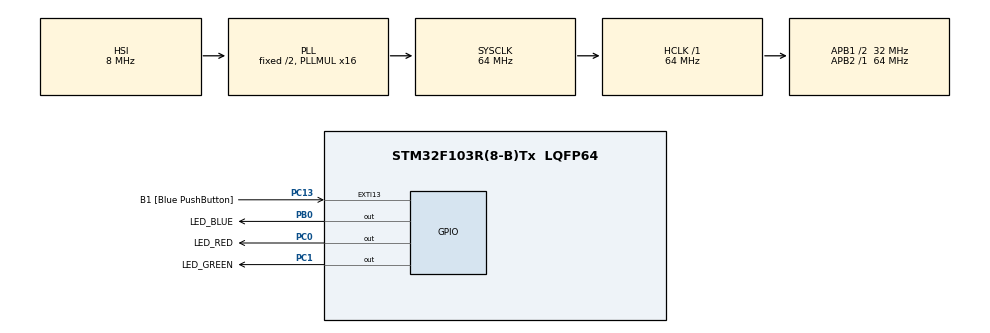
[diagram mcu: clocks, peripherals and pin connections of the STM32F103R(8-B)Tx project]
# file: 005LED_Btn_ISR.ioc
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Mcu.Family=STM32F1
Mcu.Name=STM32F103R(8-B)Tx
Mcu.Package=LQFP64
NVIC.EXTI15_10_IRQn=true\:6\:0\:true\:false\:true\:true\:true\:true
NVIC.PriorityGroup=NVIC_PRIORITYGROUP_4
NVIC.TIM4_IRQn=true\:15\:0\:false\:false\:true\:false\:true\:true
NVIC.TimeBase=TIM4_IRQn
NVIC.TimeBaseIP=TIM4
PA13.GPIO_Label=TMS
PA13.Mode=Serial_Wire
PA13.Signal=SYS_JTMS-SWDIO
PA14.GPIO_Label=TCK
PA14.Mode=Serial_Wire
PA14.Signal=SYS_JTCK-SWCLK
PA2.GPIO_Label=USART_TX
PA2.GPIO_Mode=GPIO_MODE_AF_PP
PA2.GPIO_PuPd=GPIO_NOPULL
PA2.GPIO_Speed=GPIO_SPEED_FREQ_LOW
PA2.Signal=USART2_TX
PA3.GPIO_Label=USART_RX
PA3.GPIO_Mode=GPIO_MODE_AF_PP
PA3.GPIO_PuPd=GPIO_NOPULL
PA3.GPIO_Speed=GPIO_SPEED_FREQ_LOW
PA3.Signal=USART2_RX
PB0.GPIO_Label=LED_BLUE
PB0.Signal=GPIO_Output
PB3.GPIO_Label=SWO
PB3.Signal=SYS_JTDO-TRACESWO
PC0.GPIO_Label=LED_RED
PC0.Signal=GPIO_Output
PC1.GPIO_Label=LED_GREEN
PC1.Signal=GPIO_Output
PC13-TAMPER-RTC.GPIO_Label=B1 [Blue PushButton]
PC13-TAMPER-RTC.GPIO_ModeDefaultEXTI=GPIO_MODE_IT_FALLING
PC13-TAMPER-RTC.GPIO_PuPd=GPIO_NOPULL
PC13-TAMPER-RTC.Signal=GPXTI13
PC14-OSC32_IN.Signal=RCC_OSC32_IN
PC15-OSC32_OUT.Signal=RCC_OSC32_OUT
PD0-OSC_IN.Signal=RCC_OSC_IN
PD1-OSC_OUT.Signal=RCC_OSC_OUT
ProjectManager.HeapSize=0x200
ProjectManager.StackSize=0x400
ProjectManager.TargetToolchain=STM32CubeIDE
RCC.AHBFreq_Value=64000000
RCC.APB1CLKDivider=RCC_HCLK_DIV2
RCC.APB1Freq_Value=32000000
RCC.APB1TimFreq_Value=64000000
RCC.APB2Freq_Value=64000000
RCC.APB2TimFreq_Value=64000000
RCC.HCLKFreq_Value=64000000
RCC.PLLMUL=RCC_PLL_MUL16
RCC.SYSCLKFreq_VALUE=64000000
RCC.SYSCLKSource=RCC_SYSCLKSOURCE_PLLCLK
RCC.USBFreq_Value=64000000
VP_SYS_VS_tim4.Mode=TIM4
board=NUCLEO-F103RB

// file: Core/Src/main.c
/* USER CODE BEGIN Header */
/**
  ******************************************************************************
  * @file           : main.c
  * @brief          : Main program body
  ******************************************************************************
  * @attention
  *
  * Copyright (c) 2025 STMicroelectronics.
  * All rights reserved.
  *
  * This software is licensed under terms that can be found in the LICENSE file
  * in the root directory of this software component.
  * If no LICENSE file comes with this software, it is provided AS-IS.
  *
  ******************************************************************************
  */
/* USER CODE END Header */
#include "main.h"

/* USER CODE BEGIN Includes */
#include "FreeRTOS.h"
#include "task.h"
/* USER CODE END Includes */

void SystemClock_Config(void);
static void MX_GPIO_Init(void);
/* USER CODE BEGIN PFP */
void button_interrupt_handler(void);
static void led_red_handler(void* parameters);
static void led_green_handler(void* parameters);
static void led_blue_handler(void* parameters);
static void button_handler(void* parameters);
/* USER CODE END PFP */

/* USER CODE BEGIN 0 */
#define DWT_CTRL	(*(volatile uint32_t*) 0xE0001000)

TaskHandle_t task1_handle;
TaskHandle_t task2_handle;
TaskHandle_t task3_handle;
TaskHandle_t btn_task_handle;
TaskHandle_t volatile next_task_handle;

/* USER CODE END 0 */

int main(void)
{

  /* USER CODE BEGIN 1 */
  BaseType_t status;
  /* USER CODE END 1 */

  /* MCU Configuration--------------------------------------------------------*/

  /* Reset of all peripherals, Initializes the Flash interface and the Systick. */
  HAL_Init();

  /* Configure the system clock */
  SystemClock_Config();

  /* Initialize all configured peripherals */
  MX_GPIO_Init();
  /* USER CODE BEGIN 2 */
  DWT_CTRL |= (1 << 0);

  SEGGER_SYSVIEW_Conf();

  SEGGER_SYSVIEW_Start();

  HAL_NVIC_SetPriorityGrouping(NVIC_PRIORITYGROUP_4);
  HAL_NVIC_SetPriority(PendSV_IRQn,  15, 0);
  HAL_NVIC_SetPriority(SysTick_IRQn, 15, 0);

  status = xTaskCreate(led_red_handler, "LED_RED_task", 200, NULL, 1, &task1_handle);

  configASSERT(status == pdPASS);

  next_task_handle = task1_handle;

  status = xTaskCreate(led_green_handler, "LED_GREEN_task", 200, NULL, 2, &task2_handle);

  configASSERT(status == pdPASS);

  status = xTaskCreate(led_blue_handler, "LED_BLUE_task", 200, NULL, 3, &task3_handle);

  configASSERT(status == pdPASS);

  status = xTaskCreate(button_handler, "Button_task", 200, NULL, 4, &btn_task_handle);

  configASSERT(status == pdPASS);

  vTaskStartScheduler();
  /* USER CODE END 2 */

  /* Infinite loop */
  while (1)
  {

  }
}

void SystemClock_Config(void)
{
  RCC_OscInitTypeDef RCC_OscInitStruct = {0};
  RCC_ClkInitTypeDef RCC_ClkInitStruct = {0};

  /** Initializes the RCC Oscillators according to the specified parameters
  * in the RCC_OscInitTypeDef structure.
  */
  RCC_OscInitStruct.OscillatorType = RCC_OSCILLATORTYPE_HSI;
  RCC_OscInitStruct.HSIState = RCC_HSI_ON;
  RCC_OscInitStruct.HSICalibrationValue = RCC_HSICALIBRATION_DEFAULT;
  RCC_OscInitStruct.PLL.PLLState = RCC_PLL_ON;
  RCC_OscInitStruct.PLL.PLLSource = RCC_PLLSOURCE_HSI_DIV2;
  RCC_OscInitStruct.PLL.PLLMUL = RCC_PLL_MUL16;
  if (HAL_RCC_OscConfig(&RCC_OscInitStruct) != HAL_OK)
  {
    Error_Handler();
  }

  /** Initializes the CPU, AHB and APB buses clocks
  */
  RCC_ClkInitStruct.ClockType = RCC_CLOCKTYPE_HCLK|RCC_CLOCKTYPE_SYSCLK
                              |RCC_CLOCKTYPE_PCLK1|RCC_CLOCKTYPE_PCLK2;
  RCC_ClkInitStruct.SYSCLKSource = RCC_SYSCLKSOURCE_PLLCLK;
  RCC_ClkInitStruct.AHBCLKDivider = RCC_SYSCLK_DIV1;
  RCC_ClkInitStruct.APB1CLKDivider = RCC_HCLK_DIV2;
  RCC_ClkInitStruct.APB2CLKDivider = RCC_HCLK_DIV1;

  if (HAL_RCC_ClockConfig(&RCC_ClkInitStruct, FLASH_LATENCY_2) != HAL_OK)
  {
    Error_Handler();
  }
}

static void MX_GPIO_Init(void)
{
  GPIO_InitTypeDef GPIO_InitStruct = {0};

  /* GPIO Ports Clock Enable */
  __HAL_RCC_GPIOC_CLK_ENABLE();
  __HAL_RCC_GPIOD_CLK_ENABLE();
  __HAL_RCC_GPIOA_CLK_ENABLE();
  __HAL_RCC_GPIOB_CLK_ENABLE();

  /*Configure GPIO pin Output Level */
  HAL_GPIO_WritePin(GPIOC, LED_RED_Pin|LED_GREEN_Pin, GPIO_PIN_RESET);

  /*Configure GPIO pin Output Level */
  HAL_GPIO_WritePin(LED_BLUE_GPIO_Port, LED_BLUE_Pin, GPIO_PIN_RESET);

  /*Configure GPIO pin : B1_Pin */
  GPIO_InitStruct.Pin = B1_Pin;
  GPIO_InitStruct.Mode = GPIO_MODE_IT_FALLING;
  GPIO_InitStruct.Pull = GPIO_NOPULL;
  HAL_GPIO_Init(B1_GPIO_Port, &GPIO_InitStruct);

  /*Configure GPIO pins : LED_RED_Pin LED_GREEN_Pin */
  GPIO_InitStruct.Pin = LED_RED_Pin|LED_GREEN_Pin;
  GPIO_InitStruct.Mode = GPIO_MODE_OUTPUT_PP;
  GPIO_InitStruct.Pull = GPIO_NOPULL;
  GPIO_InitStruct.Speed = GPIO_SPEED_FREQ_LOW;
  HAL_GPIO_Init(GPIOC, &GPIO_InitStruct);

  /*Configure GPIO pins : USART_TX_Pin USART_RX_Pin */
  GPIO_InitStruct.Pin = USART_TX_Pin|USART_RX_Pin;
  GPIO_InitStruct.Mode = GPIO_MODE_AF_PP;
  GPIO_InitStruct.Speed = GPIO_SPEED_FREQ_LOW;
  HAL_GPIO_Init(GPIOA, &GPIO_InitStruct);

  /*Configure GPIO pin : LED_BLUE_Pin */
  GPIO_InitStruct.Pin = LED_BLUE_Pin;
  GPIO_InitStruct.Mode = GPIO_MODE_OUTPUT_PP;
  GPIO_InitStruct.Pull = GPIO_NOPULL;
  GPIO_InitStruct.Speed = GPIO_SPEED_FREQ_LOW;
  HAL_GPIO_Init(LED_BLUE_GPIO_Port, &GPIO_InitStruct);

  /* EXTI interrupt init*/
  HAL_NVIC_SetPriority(EXTI15_10_IRQn, 6, 0);
  HAL_NVIC_EnableIRQ(EXTI15_10_IRQn);

}

/* USER CODE BEGIN 4 */
void button_interrupt_handler(void)
{
	traceISR_ENTER();
	xTaskNotifyFromISR(next_task_handle, 0, eNoAction, NULL);
	traceISR_EXIT();
}

static void led_red_handler(void* parameters)
{
	BaseType_t status;

	while(1)
	{
		HAL_GPIO_TogglePin(LED_RED_GPIO_Port, LED_RED_Pin);
		status = xTaskNotifyWait(0,0,NULL,pdMS_TO_TICKS(1000));
		if (status == pdTRUE)
		{
			portENTER_CRITICAL();
			next_task_handle = task2_handle;
			HAL_GPIO_WritePin(LED_RED_GPIO_Port, LED_RED_Pin, GPIO_PIN_SET);
			portEXIT_CRITICAL();
			vTaskDelete(NULL);
		}
	}
}

static void led_green_handler(void* parameters)
{
	BaseType_t status;

	while(1)
	{
		HAL_GPIO_TogglePin(LED_GREEN_GPIO_Port, LED_GREEN_Pin);
		status = xTaskNotifyWait(0,0,NULL,pdMS_TO_TICKS(1000));
		if (status == pdTRUE)
		{
			portENTER_CRITICAL();
			next_task_handle = task3_handle;
			portEXIT_CRITICAL();
			HAL_GPIO_WritePin(LED_GREEN_GPIO_Port, LED_GREEN_Pin, GPIO_PIN_SET);
			vTaskDelete(NULL);
		}
	}
}

static void led_blue_handler(void* parameters)
{
	BaseType_t status;

	while(1)
	{
		HAL_GPIO_TogglePin(LED_BLUE_GPIO_Port, LED_BLUE_Pin);
		status = xTaskNotifyWait(0,0,NULL,pdMS_TO_TICKS(1000));
		if (status == pdTRUE)
		{
			portENTER_CRITICAL();
			next_task_handle = NULL;
			portEXIT_CRITICAL();
			HAL_GPIO_WritePin(LED_BLUE_GPIO_Port, LED_BLUE_Pin, GPIO_PIN_SET);
			vTaskDelete(NULL);
		}
	}
}

static void button_handler(void* parameters)
{
	uint8_t btn_read = 0;
	uint8_t prev_read = HAL_GPIO_ReadPin(GPIOC, GPIO_PIN_13);;
	while(1)
	{
		btn_read = HAL_GPIO_ReadPin(GPIOC, GPIO_PIN_13);

		// rising edge trigger
		if(btn_read == 1 && prev_read == 0)
		{
			if (next_task_handle)
			{
				xTaskNotify(next_task_handle, 0, eNoAction);
			}
		}
		prev_read = btn_read;
		vTaskDelay(pdMS_TO_TICKS(10));
	}
}
/* USER CODE END 4 */

void HAL_TIM_PeriodElapsedCallback(TIM_HandleTypeDef *htim)
{
  if (htim->Instance == TIM4)
  {
    HAL_IncTick();
  }
}

void Error_Handler(void)
{
  __disable_irq();
  while (1)
  {
  }
}
